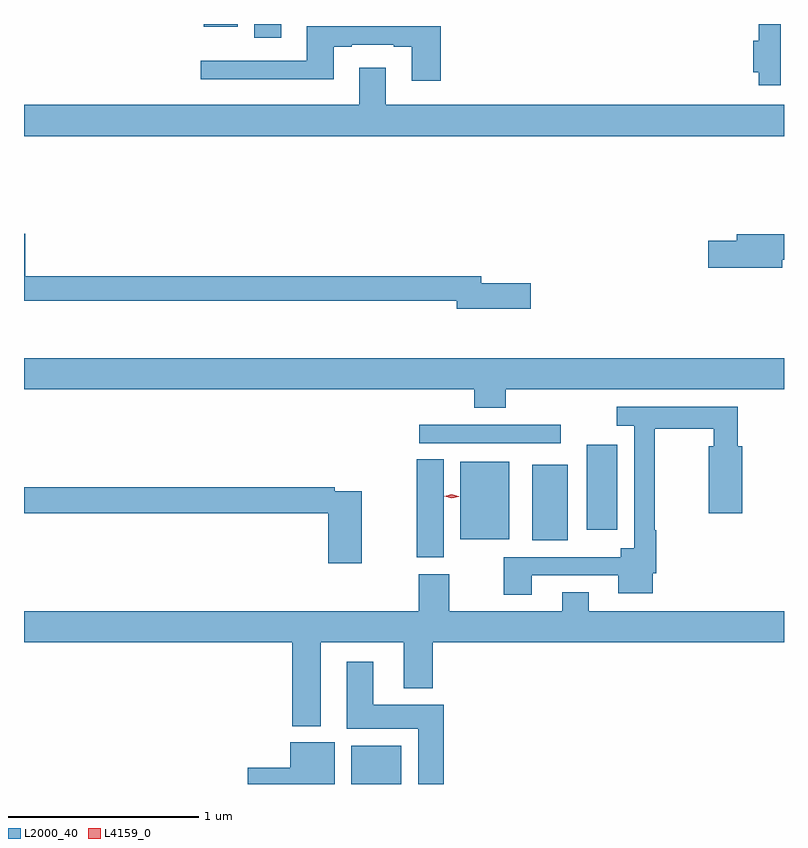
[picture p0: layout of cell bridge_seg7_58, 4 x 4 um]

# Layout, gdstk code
import gdstk
lib = gdstk.Library(unit=1e-6, precision=1e-09)
def R(c, l, rs):  # rectangles x0, y0, x1, y1
    for r in rs: c.add(gdstk.rectangle(r[:2], r[2:], *l))
def P(c, l, *ps):  # polygons
    for p in ps: c.add(gdstk.Polygon(p, *l))
L2000_40 = (2000, 40)
L4159_0 = (4159, 0)

bridge_seg7_58 = lib.new_cell('bridge_seg7_58')
R(bridge_seg7_58, L2000_40, [(949.559,1011.858,949.822,1012.06), (949.903,1013.051,950.044,1013.567), (950.51,1013.141,950.698,1013.539), (950.132,1013.147,950.389,1013.554), (950.798,1013.196,950.959,1013.644), (949.917,1013.652,950.662,1013.748), (949.049,1015.785,949.189,1015.858), (948.782,1015.844,948.961,1015.858)])
P(bridge_seg7_58, L2000_40, [(951.82,1015.758),(951.819,1015.758),(951.819,1015.858),(951.703,1015.858),(951.703,1015.77),(951.674,1015.77),(951.674,1015.604),(951.703,1015.604),(951.703,1015.536),(951.82,1015.536)],
  [(950.03,1015.846),(949.325,1015.846),(949.325,1015.665),(948.765,1015.665),(948.765,1015.568),(949.465,1015.568),(949.465,1015.737),(949.561,1015.737),(949.561,1015.749),(949.781,1015.749),(949.781,1015.737),(949.877,1015.737),(949.877,1015.56),(950.03,1015.56)],
  [(949.601,1015.627),(949.601,1015.432),(947.836,1015.432),(947.836,1015.268),(951.836,1015.268),(951.836,1015.432),(949.741,1015.432),(949.741,1015.627)],
  [(950.503,1014.494),(950.242,1014.494),(950.242,1014.53),(947.843,1014.53),(947.843,1014.754),(947.836,1014.754),(947.836,1014.402),(950.114,1014.402),(950.114,1014.359),(950.503,1014.359)],
  [(951.826,1014.616),(951.836,1014.616),(951.836,1014.752),(951.587,1014.752),(951.587,1014.716),(951.438,1014.716),(951.438,1014.574),(951.826,1014.574)],
  [(950.372,1013.936),(951.836,1013.936),(951.836,1014.1),(947.836,1014.1),(947.836,1013.936),(950.207,1013.936),(950.207,1013.837),(950.372,1013.837)],
  [(950.509,1012.956),(950.963,1012.956),(950.963,1012.862),(951.145,1012.862),(951.145,1012.966),(951.164,1012.966),(951.164,1013.194),(951.157,1013.194),(951.157,1013.728),(951.465,1013.728),(951.465,1013.635),(951.439,1013.635),(951.439,1013.283),(951.617,1013.283),(951.617,1013.635),(951.593,1013.635),(951.593,1013.844),(950.955,1013.844),(950.955,1013.744),(951.048,1013.744),(951.048,1013.098),(950.978,1013.098),(950.978,1013.052),(950.362,1013.052),(950.362,1012.854),(950.509,1012.854)],
  [(949.614,1013.4),(949.472,1013.4),(949.472,1013.42),(947.836,1013.42),(947.836,1013.284),(949.436,1013.284),(949.436,1013.019),(949.614,1013.019)],
  [(949.399,1012.604),(949.835,1012.604),(949.835,1012.361),(949.988,1012.361),(949.988,1012.604),(951.836,1012.604),(951.836,1012.768),(950.809,1012.768),(950.809,1012.867),(950.669,1012.867),(950.669,1012.768),(950.073,1012.768),(950.073,1012.963),(949.913,1012.963),(949.913,1012.768),(947.836,1012.768),(947.836,1012.604),(949.247,1012.604),(949.247,1012.163),(949.399,1012.163)],
  [(950.045,1012.276),(949.675,1012.276),(949.675,1012.501),(949.535,1012.501),(949.535,1012.148),(949.91,1012.148),(949.91,1011.858),(950.045,1011.858)],
  [(949.471,1012.078),(949.238,1012.078),(949.238,1011.944),(949.014,1011.944),(949.014,1011.858),(949.471,1011.858)])
P(bridge_seg7_58, L4159_0, [(950.087,1013.362),(950.049,1013.372),(950.049,1013.372),(950.049,1013.372),(950.087,1013.382),(950.125,1013.372),(950.125,1013.371),(950.125,1013.371)])

lib.write_gds('bridge_seg7_58.gds')
